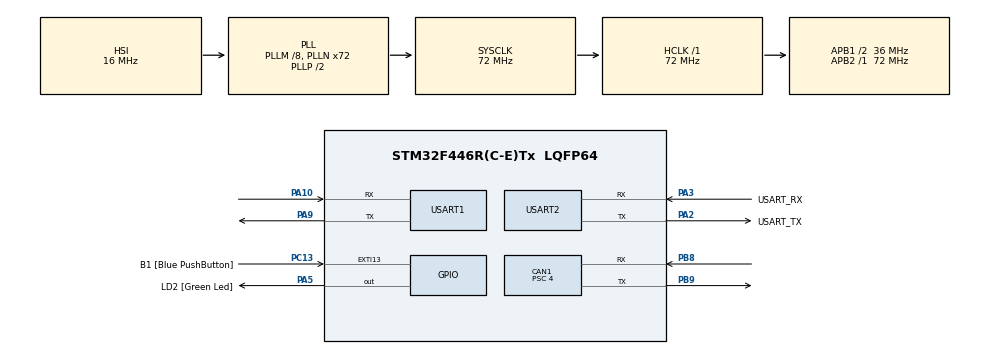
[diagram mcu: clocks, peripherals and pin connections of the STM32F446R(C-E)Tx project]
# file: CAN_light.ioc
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CAN1.AWUM=ENABLE
CAN1.BS1=CAN_BS1_13TQ
CAN1.BS2=CAN_BS2_4TQ
CAN1.CalculateBaudRate=500000
CAN1.CalculateTimeBit=2000
CAN1.CalculateTimeQuantum=111.11111111111111
CAN1.NART=ENABLE
CAN1.Prescaler=4
Mcu.Family=STM32F4
Mcu.Name=STM32F446R(C-E)Tx
Mcu.Package=LQFP64
NVIC.PriorityGroup=NVIC_PRIORITYGROUP_0
NVIC.USART1_IRQn=true\:0\:0\:false\:false\:true\:true\:true\:true
PA10.Mode=Asynchronous
PA10.Signal=USART1_RX
PA13.GPIO_Label=TMS
PA13.Mode=Serial_Wire
PA13.Signal=SYS_JTMS-SWDIO
PA14.GPIO_Label=TCK
PA14.Mode=Serial_Wire
PA14.Signal=SYS_JTCK-SWCLK
PA2.GPIO_Label=USART_TX
PA2.Mode=Asynchronous
PA2.Signal=USART2_TX
PA3.GPIO_Label=USART_RX
PA3.Mode=Asynchronous
PA3.Signal=USART2_RX
PA5.GPIO_Label=LD2 [Green Led]
PA5.Signal=GPIO_Output
PA9.Mode=Asynchronous
PA9.Signal=USART1_TX
PB3.GPIO_Label=SWO
PB3.Signal=SYS_JTDO-SWO
PB8.Mode=CAN_Activate
PB8.Signal=CAN1_RX
PB9.Mode=CAN_Activate
PB9.Signal=CAN1_TX
PC13.GPIO_Label=B1 [Blue PushButton]
PC13.GPIO_ModeDefaultEXTI=GPIO_MODE_IT_FALLING
PC13.Signal=GPXTI13
PC14-OSC32_IN.Mode=LSE-External-Oscillator
PC14-OSC32_IN.Signal=RCC_OSC32_IN
PC15-OSC32_OUT.Mode=LSE-External-Oscillator
PC15-OSC32_OUT.Signal=RCC_OSC32_OUT
PH0-OSC_IN.Mode=HSE-External-Oscillator
PH0-OSC_IN.Signal=RCC_OSC_IN
PH1-OSC_OUT.Mode=HSE-External-Oscillator
PH1-OSC_OUT.Signal=RCC_OSC_OUT
ProjectManager.HeapSize=0x200
ProjectManager.StackSize=0x400
ProjectManager.TargetToolchain=STM32CubeIDE
RCC.48MHZClocksFreq_Value=84000000
RCC.AHBFreq_Value=72000000
RCC.APB1CLKDivider=RCC_HCLK_DIV2
RCC.APB1Freq_Value=36000000
RCC.APB1TimFreq_Value=72000000
RCC.APB2Freq_Value=72000000
RCC.APB2TimFreq_Value=72000000
RCC.CortexFreq_Value=72000000
RCC.FLatency-AdvancedSettings=FLASH_LATENCY_2
RCC.HCLKFreq_Value=72000000
RCC.HSE_VALUE=8000000
RCC.HSI_VALUE=16000000
RCC.PLLM=8
RCC.PLLN=72
RCC.SYSCLKFreq_VALUE=72000000
RCC.SYSCLKSource=RCC_SYSCLKSOURCE_PLLCLK
RCC.USBFreq_Value=72000000
RCC.VCOOutputFreq_Value=144000000
USART1.VirtualMode=VM_ASYNC
USART2.VirtualMode=VM_ASYNC
board=NUCLEO-F446RE

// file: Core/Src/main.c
/* USER CODE BEGIN Header */
/**
  ******************************************************************************
  * @file           : main.c
  * @brief          : Main program body
  ******************************************************************************
  * @attention
  *
  * Copyright (c) 2025 STMicroelectronics.
  * All rights reserved.
  *
  * This software is licensed under terms that can be found in the LICENSE file
  * in the root directory of this software component.
  * If no LICENSE file comes with this software, it is provided AS-IS.
  *
  ******************************************************************************
  */
/* USER CODE END Header */
#include "main.h"
#include "can.h"
#include "usart.h"
#include "gpio.h"

/* USER CODE BEGIN Includes */
#include "uart_efr32.h"
#include <stdint.h>
#include <stdio.h>
#include "can_driver.h"
/* USER CODE END Includes */

void SystemClock_Config(void);

/* USER CODE BEGIN 0 */
// Override prinft stdio to uart2
void __io_putchar(uint8_t ch) {
    HAL_UART_Transmit(&huart2, &ch, 1, 1);
}
/* USER CODE END 0 */

int main(void)
{

  /* MCU Configuration--------------------------------------------------------*/

  /* Reset of all peripherals, Initializes the Flash interface and the Systick. */
  HAL_Init();

  /* Configure the system clock */
  SystemClock_Config();

  /* Initialize all configured peripherals */
  MX_GPIO_Init();
  MX_USART2_UART_Init();
  MX_CAN1_Init();
  MX_USART1_UART_Init();
  /* USER CODE BEGIN 2 */
  uart_efr32_start_reception();
  uint8_t light_level=0;

#if IS_SENDER != 1
  CAN_ConfigFilter(); // Config receiver filter
  printf("Filter configured");
#endif

  if (HAL_CAN_Start(&hcan1) != HAL_OK)
  {
	  printf("Error on CAN");
      Error_Handler();
  }
  /* USER CODE END 2 */

  /* Infinite loop */
  /* USER CODE BEGIN WHILE */
  while (1)
  {

#if IS_SENDER == 1
	  light_level = uart_efr32_get_luminosity();
	  printf("\nLEVEL: %d\n",light_level);
	  CAN_SendSensorState(light_level);
#endif
	  HAL_Delay(1000);
	  HAL_GPIO_TogglePin(LD2_GPIO_Port, LD2_Pin);
    /* USER CODE END WHILE */

  }
}

void SystemClock_Config(void)
{
  RCC_OscInitTypeDef RCC_OscInitStruct = {0};
  RCC_ClkInitTypeDef RCC_ClkInitStruct = {0};

  /** Configure the main internal regulator output voltage
  */
  __HAL_RCC_PWR_CLK_ENABLE();
  __HAL_PWR_VOLTAGESCALING_CONFIG(PWR_REGULATOR_VOLTAGE_SCALE3);

  /** Initializes the RCC Oscillators according to the specified parameters
  * in the RCC_OscInitTypeDef structure.
  */
  RCC_OscInitStruct.OscillatorType = RCC_OSCILLATORTYPE_HSI;
  RCC_OscInitStruct.HSIState = RCC_HSI_ON;
  RCC_OscInitStruct.HSICalibrationValue = RCC_HSICALIBRATION_DEFAULT;
  RCC_OscInitStruct.PLL.PLLState = RCC_PLL_ON;
  RCC_OscInitStruct.PLL.PLLSource = RCC_PLLSOURCE_HSI;
  RCC_OscInitStruct.PLL.PLLM = 8;
  RCC_OscInitStruct.PLL.PLLN = 72;
  RCC_OscInitStruct.PLL.PLLP = RCC_PLLP_DIV2;
  RCC_OscInitStruct.PLL.PLLQ = 2;
  RCC_OscInitStruct.PLL.PLLR = 2;
  if (HAL_RCC_OscConfig(&RCC_OscInitStruct) != HAL_OK)
  {
    Error_Handler();
  }

  /** Initializes the CPU, AHB and APB buses clocks
  */
  RCC_ClkInitStruct.ClockType = RCC_CLOCKTYPE_HCLK|RCC_CLOCKTYPE_SYSCLK
                              |RCC_CLOCKTYPE_PCLK1|RCC_CLOCKTYPE_PCLK2;
  RCC_ClkInitStruct.SYSCLKSource = RCC_SYSCLKSOURCE_PLLCLK;
  RCC_ClkInitStruct.AHBCLKDivider = RCC_SYSCLK_DIV1;
  RCC_ClkInitStruct.APB1CLKDivider = RCC_HCLK_DIV2;
  RCC_ClkInitStruct.APB2CLKDivider = RCC_HCLK_DIV1;

  if (HAL_RCC_ClockConfig(&RCC_ClkInitStruct, FLASH_LATENCY_2) != HAL_OK)
  {
    Error_Handler();
  }
}

void Error_Handler(void)
{
  __disable_irq();
  while (1)
  {
  }
}
